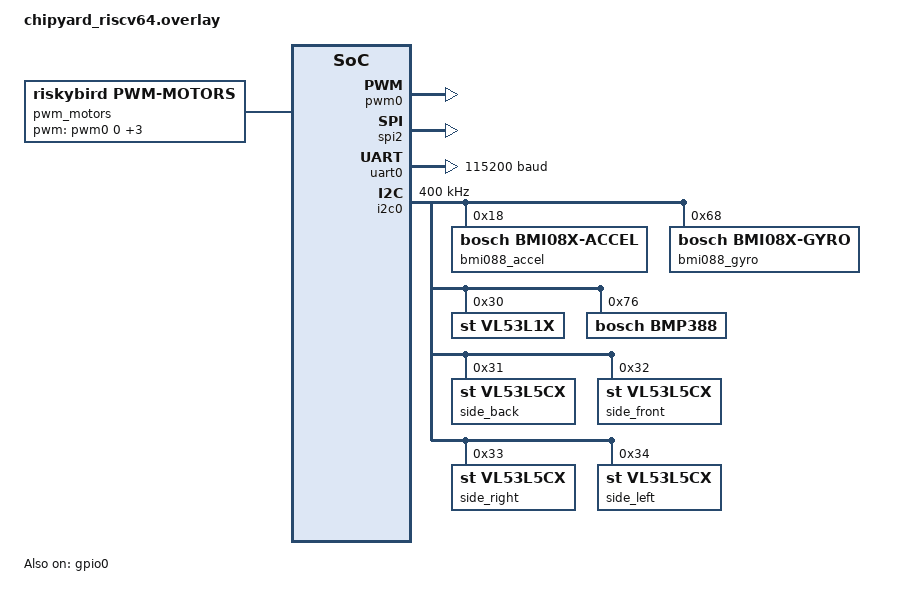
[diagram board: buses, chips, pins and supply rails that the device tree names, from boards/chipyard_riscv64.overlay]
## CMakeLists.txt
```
# SPDX-License-Identifier: Apache-2.0
#
# Integrated flight-controller + DroNet build for the riskybird v3 FPGA Rocket
# COMBINED core RocketArty200TDroneGemminiSaturnFp16At35Config.
#
# Combines, in ONE Zephyr binary flashed to ONE hart:
#   * the full flight controller (samples/rose_flight_controller) -- PID control
#     loop in main() at high (prio 0) priority, sensors, estimator, camera/ToF
#     background threads; and
#   * DroNet inference (the 13.31 fps integrated Gemmini+Saturn build,
#     modelblaster riskybird-fps-integrated @ 10b50ba: NHWC + conv0-pool fusion +
#     rvv_seg relayouts, grayscale, bit-exact) driven by src/dronet_thread.c on a
#     LOW-priority (prio 13) background thread.
#
# Build (see scripts/build_fc_dronet.sh for the canonical invocation):
#   west build -p -b chipyard_riscv64 samples/rose_fc_dronet -- \
#     -DMB_REPO=<abs path to a modelblaster checkout @10b50ba/equivalent> \
#     -DMODEL_DIR=<MB_REPO>/examples/dronet/int8/generated_gray/hetero_tiled_rvvadd \
#     -DMODELBLASTER_KERNEL_CFLAGS="-march=rv64imac_zve64x;-mabi=lp64;..." \
#     -DEXTRA_CPPFLAGS="-DROSE_MOTORS_INHIBIT=1 -DROSE_PROFILE=1"

cmake_minimum_required(VERSION 3.20.0)

# ---------------------------------------------------------------------------
# Locations (FC must be known before find_package so its dts/bindings -- e.g.
# riskybird,pwm-motors.yaml -- are on the binding search path via DTS_ROOT).
# ---------------------------------------------------------------------------
get_filename_component(FC ${CMAKE_CURRENT_SOURCE_DIR}/../rose_flight_controller ABSOLUTE)
get_filename_component(TINYMPC ${CMAKE_CURRENT_SOURCE_DIR}/../drone_control/tinympc ABSOLUTE)
list(APPEND DTS_ROOT ${FC})

find_package(Zephyr REQUIRED HINTS $ENV{ZEPHYR_BASE})
project(rose_fc_dronet)

# DroNet model + modelblaster runtime. MB_REPO/MODEL_DIR default to this
# worktree's own modelblaster submodule but are meant to be passed in by
# build_fc_dronet.sh so the exact 10b50ba integrated files are used.
if(NOT DEFINED MB_REPO)
  set(MB_REPO ${CMAKE_CURRENT_SOURCE_DIR}/../../modelblaster)
endif()
get_filename_component(MB_REPO "${MB_REPO}" ABSOLUTE)
if(NOT DEFINED MODEL_DIR)
  set(MODEL_DIR ${MB_REPO}/examples/dronet/int8/generated_gray/hetero_tiled_rvvadd)
endif()
get_filename_component(MODEL_DIR "${MODEL_DIR}" ABSOLUTE)

foreach(_f model.c kernels.c weights.c buffers.c model.h kernels.h test_io.h test_io.S)
  if(NOT EXISTS "${MODEL_DIR}/${_f}")
    message(FATAL_ERROR "MODEL_DIR='${MODEL_DIR}' missing ${_f}. "
                        "Run scripts/gen_dronet_model.sh or pass -DMODEL_DIR=.")
  endif()
endforeach()
message(STATUS "rose_fc_dronet: FC=${FC}")
message(STATUS "rose_fc_dronet: MODEL_DIR=${MODEL_DIR}")

# ---------------------------------------------------------------------------
# TinyMPC matlib: force SCALAR (the At35 core enables V for the DroNet kernels,
# but V codegen must stay confined to kernels.c -- see CONFIG_RISCV_V_KERNEL_ONLY.
# This build uses the lighter PID controller anyway, so TinyMPC is scalar like
# the original FullDDR bring-up.)
# ---------------------------------------------------------------------------
set(USE_CPU     ON  CACHE BOOL "" FORCE)
set(USE_RVV     OFF CACHE BOOL "" FORCE)
set(USE_HANDOPT OFF CACHE BOOL "" FORCE)
set(USE_TYPE "float32" CACHE STRING "" FORCE)
include(${TINYMPC}/external/matlib/matlib_header.cmake)

# ---------------------------------------------------------------------------
# FC build knobs (defaults chosen for the At35 bench build). ROSE_USE_PID=1 is
# the light hierarchical PID; motors inhibited / profiling on come via
# -DEXTRA_CPPFLAGS. Camera off in Phase 1 (turned on for Phase 2).
# ---------------------------------------------------------------------------
set(ROSE_USE_EKF 1 CACHE STRING "1=EKF, 0=complementary")
set(ROSE_USE_PID 1 CACHE STRING "1=hierarchical PID, 0=TinyMPC")
set(ROSE_THREADED 0 CACHE STRING "1=threaded blocks, 0=single loop")
set(ROSE_CTRL_DIV 1 CACHE STRING "control every Nth estimator tick")
set(ROSE_ACTUATE_TIMEOUT_MS 0 CACHE STRING "stop actuation N ms after boot (0=never)")
set(CTRL_ITERS 0 CACHE STRING "control-loop iteration count (0=forever)")
set(ROSE_BUMPER 0 CACHE STRING "1=side-ToF wall bumper")
set(ROSE_BUMPER_READDRESS_ONLY 0 CACHE STRING "1=re-address sides only")
set(ROSE_FLOW 0 CACHE STRING "1=PMW3901 optical flow")
set(ROSE_BARO 1 CACHE STRING "1=BMP388 baro altitude fusion")
# fp16(Zvfh)+fp32-vector estimator+PID (runs the FC algebra on the Saturn vector unit to
# free the scalar core for co-resident DroNet). Selected in the estimator/controller
# factories; takes precedence over ROSE_USE_EKF/ROSE_USE_PID. The fp16 kernels are split
# into a pure-VECTOR unit (fp16_fc_kernels.c, built with a Zvfh -march below) and a
# soft-float SCALAR-glue unit (fp16_fc_glue.c, built with the default rv64imac soft-float
# march) so no scalar-FP instruction is emitted (the At35 core is misa.F=0 -> scalar F traps).
set(ROSE_USE_FP16 0 CACHE STRING "1=fp16(Zvfh)+fp32-vector estimator+PID, 0=scalar")
# FcRoCC (custom-0) estimator+PID: runs the whole FC on the hardened RoCC accelerator
# in Q24.24 integer (no FPU, no Saturn V). Selected in the factories; takes precedence
# over FP16/EKF/PID. Only the float<->Q24.24 boundary is scalar soft-float. REQUIRES the
# validated-core RoCC bitstream (assembled ROM+boot image) to actually compute.
set(ROSE_USE_ROCC 0 CACHE STRING "1=FcRoCC(Q24.24) estimator+PID on the custom-0 accelerator, 0=off")

# ---------------------------------------------------------------------------
# Sources: the full FC + the DroNet model/kernels/runtime + the DroNet thread.
# ---------------------------------------------------------------------------
target_sources(app PRIVATE
  # ---- flight controller (from samples/rose_flight_controller) ----
  ${FC}/src/main.cpp
  ${FC}/src/estimator_complementary.cpp
  ${FC}/src/estimator_ekf.cpp
  ${FC}/src/estimator_factory.cpp
  ${FC}/src/controller_tinympc.cpp
  ${FC}/src/controller_pid.cpp
  ${FC}/src/controller_factory.cpp
  ${FC}/src/flightlog.c
  ${FC}/src/telem_uart.c
  ${FC}/src/camera_dma.c
  ${FC}/src/side_tof.c
  ${FC}/src/flow.c
  ${FC}/src/pmw3901.c
  ${TINYMPC}/external/admm/src/admm_rvv.cpp
  # ---- DroNet inference (generated) + the background thread ----
  src/dronet_thread.c
  ${MODEL_DIR}/model.c
  ${MODEL_DIR}/kernels.c
  ${MODEL_DIR}/weights.c
  ${MODEL_DIR}/buffers.c
  ${MODEL_DIR}/test_io.S
)
set_source_files_properties(${MODEL_DIR}/test_io.S PROPERTIES LANGUAGE ASM)

# DroNet weights push .sdata past the gp-relative window; disable relaxation
# (same treatment the modelblaster harness uses).
zephyr_link_libraries(-Wl,--no-relax)

# The generated DroNet kernels.c is the ONLY V (Saturn RVV) translation unit:
# give it the Gemmini+RVV march + include/-D set. Everything else builds no-V.
if(NOT DEFINED MODELBLASTER_KERNEL_CFLAGS OR "${MODELBLASTER_KERNEL_CFLAGS}" STREQUAL "")
  set(MODELBLASTER_KERNEL_CFLAGS
    "-march=rv64imac_zve64x;-mabi=lp64;\
-isystem${MB_REPO}/cores/gemmini/include/per_config/default16x16;\
-isystem${MB_REPO}/cores/gemmini/include;\
-isystem${MB_REPO}/cores/gemmini;\
-DGEMMINI_ROCC;-DBAREMETAL;\
-DMODELBLASTER_GEMMINI_HWIO_WEIGHTS=1;-DMODELBLASTER_GEMMINI_Q31_ACC_SCALE=1")
endif()
set_source_files_properties(${MODEL_DIR}/kernels.c PROPERTIES
  COMPILE_OPTIONS "${MODELBLASTER_KERNEL_CFLAGS}")
message(STATUS "rose_fc_dronet kernels.c cflags=${MODELBLASTER_KERNEL_CFLAGS}")

# ---------------------------------------------------------------------------
# fp16(Zvfh) FC kernels (-DROSE_USE_FP16=1). Compile-unit split for misa.F=0:
#   * fp16_fc_kernels.c -> the pure-VECTOR unit: built with the DroNet kernel march
#     + zvfh (rv64imac_zve64x_zvfh). It contains ZERO scalar float (objdump-verified:
#     0 scalar-FP, 127 vector-FP ops), so no scalar fadd.s/flw is emitted -> no trap.
#     The Saturn vector unit (vfh=true) executes the vfh vector ops on misa.V. Using
#     the zve64x base (no scalar 'f') matches kernels.c and avoids a hard-float ELF
#     attribute at link. Also #includes the internal fp16_fc_vec.h (no CMake entry).
#   * fp16_fc_glue.c   -> the SCALAR-glue unit: left on the default global
#     rv64imac(_zicsr_zifencei) soft-float march, so its scalar float becomes
#     soft-float libcalls (no scalar-FP instruction). No per-file override needed.
# ---------------------------------------------------------------------------
if(ROSE_USE_FP16)
  target_sources(app PRIVATE
    ${FC}/src/fp16_fc_kernels.c
    ${FC}/src/fp16_fc_glue.c)
  # -fno-tree-vectorize is REQUIRED on the fp16 vector TU: without it gcc auto-
  # vectorizes the scalar boundary/int<->fp16 converts into vfncvt.f.f.w / vfwcvt.f.f.v,
  # which are BLOCKED (illegal-instr) on the fp16-only At35 Saturn. a1198297's int-accum
  # kernel is hand-vectorized with only the At35-supported ops; this flag stops gcc from
  # re-introducing the blocked ones (objdump-verified 0 blocked ops).
  set(FP16_VEC_CFLAGS "-march=rv64imac_zve64x_zvfh;-mabi=lp64;-fno-tree-vectorize")
  set_source_files_properties(${FC}/src/fp16_fc_kernels.c PROPERTIES
    COMPILE_OPTIONS "${FP16_VEC_CFLAGS}")
  message(STATUS "rose_fc_dronet fp16_fc_kernels.c (Zvfh) cflags=${FP16_VEC_CFLAGS}")
endif()

# ---------------------------------------------------------------------------
# FcRoCC FC firmware (-DROSE_USE_ROCC=1): the custom-0 driver + boot image.
# Compiles on the default global rv64imac soft-float march -- the custom-0 ops are
# .insn r 0x0B (no ISA extension needed); the Q24.24 boundary is soft-float. The
# estimator_rocc.hpp/controller_rocc.hpp drop-ins are headers (no CMake entry).
# ---------------------------------------------------------------------------
if(ROSE_USE_ROCC)
  target_sources(app PRIVATE ${FC}/src/fc_rocc_fw.c)
  message(STATUS "rose_fc_dronet: FcRoCC FC firmware (ROSE_USE_ROCC=1)")
endif()

target_compile_definitions(app PRIVATE
  ROSE_USE_EKF=${ROSE_USE_EKF}
  ROSE_USE_PID=${ROSE_USE_PID}
  ROSE_USE_FP16=${ROSE_USE_FP16}
  ROSE_USE_ROCC=${ROSE_USE_ROCC}
  ROSE_THREADED=${ROSE_THREADED} ROSE_CTRL_DIV=${ROSE_CTRL_DIV}
  ROSE_ACTUATE_TIMEOUT_MS=${ROSE_ACTUATE_TIMEOUT_MS} CTRL_ITERS=${CTRL_ITERS}
  ROSE_BUMPER=${ROSE_BUMPER} ROSE_FLOW=${ROSE_FLOW} ROSE_BARO=${ROSE_BARO}
  ROSE_BUMPER_READDRESS_ONLY=${ROSE_BUMPER_READDRESS_ONLY})

target_include_directories(app PRIVATE
  ${FC}/src
  ${MODEL_DIR}
  ${TINYMPC}/external/admm/include
  ${TINYMPC}/external/matlib/include
  ${TINYMPC}/include
  ${TINYMPC}/examples)

# Both parents used ROSE_CAMERA for different capture implementations.
# Keep still-photo ROSE_CAMERA; select upstream DMA with ROSE_CAMERA_DMA.
# Empty values preserve existing EXTRA_CPPFLAGS overrides.
set(ROSE_CAMERA_DMA "" CACHE STRING "1=upstream background camera DMA")
set(ROSE_UART_TELEM "" CACHE STRING "1=upstream raw uart1 telemetry/snapshots")
foreach(_mode ROSE_CAMERA_DMA ROSE_UART_TELEM)
  if(NOT "${${_mode}}" STREQUAL "")
    target_compile_definitions(app PRIVATE ${_mode}=${${_mode}})
  endif()
endforeach()
```

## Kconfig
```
# Application Kconfig for the integrated FC + DroNet harness.
# Declares the project-local RISCV_V_KERNEL_ONLY symbol (same as
# modelblaster/harness/Kconfig) then sources the standard Zephyr Kconfig.

config RISCV_V_KERNEL_ONLY
	bool "Restrict V codegen to kernel files only"
	depends on RISCV_ISA_EXT_V
	default n
	help
	  Restrict RISC-V Vector codegen to the generated DroNet kernels.c TU
	  (which carries a per-source -march=rv64imac_zve64x override). Every
	  other translation unit -- the flight controller, Zephyr, libc -- is
	  built for a no-V march so GCC cannot auto-vectorize scalar code and a
	  mid-vector preemption can never clobber scalar state. The DroNet thread
	  is the only V user; the eager vector context switch
	  (CONFIG_RISCV_ISA_EXT_V_LAZY=n) saves/restores its vector state when the
	  PID loop preempts it.

source "Kconfig.zephyr"
```

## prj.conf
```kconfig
# Shared (board-agnostic) config for the integrated FC + DroNet build.
# Sensor drivers, the soft-float / vector / clock settings, and the peripheral
# bindings are board-specific and live in boards/chipyard_riscv64.{conf,overlay}.

CONFIG_SENSOR=y
CONFIG_PRINTK=y

# C++ + a large main stack (the FC control loop runs in main(); the TinyMPC
# working set historically lived here -- kept generous even though this build
# uses the lighter PID controller).
CONFIG_CPP=y
CONFIG_REQUIRES_FULL_LIBCPP=n
CONFIG_MAIN_STACK_SIZE=327680

CONFIG_BOOT_BANNER=n

# Catch a thread stack overflow (prints instead of silently corrupting) and name
# threads so the concurrent PID/DroNet/tof/camera threads are legible in traces.
CONFIG_STACK_SENTINEL=y
CONFIG_THREAD_NAME=y

# Preemptive scheduling (the high-priority PID loop in main, prio 0, preempts the
# low-priority DroNet thread, prio 13, on schedule) is on by default via the
# preemptible priority band -- CONFIG_PREEMPT_ENABLED is auto-derived, not set here.
```

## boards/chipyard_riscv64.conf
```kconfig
# Integrated FC + DroNet on the riskybird v3 FPGA Rocket COMBINED core
# RocketArty200TDroneGemminiSaturnFp16At35Config @ 35 MHz.
#
# This core = the FullDDR-Dma-Uart drone periphery (BMI088/ToF/baro on i2c,
# PMW3901 flow on spi, motors on pwm, gpio, uart0 console + uart1 telem, OSPI
# camera + DMA) PLUS Gemmini + Saturn V128D64 + an FP16-only scalar FPU.
# Source of truth: fpga/.../arty200t/AccelConfigs.scala (:107-115, :225-228).
#
# misa = 0x8000000000b41105 = RV64 IMAC + V (+S/U/X); NO hardware fp32/fp64
# (the scalar FPU is fp16-only, WithRocketFPU16). So the whole app is built
# SOFT-FLOAT and the DroNet vector kernels are the only V code (kernels.c).

# ---- Console UART @ 35 MHz peripheral clock -> 115200 baud on /dev/ttyUSB1 ----
CONFIG_UART_HTIF=n
CONFIG_UART_SIFIVE=y
CONFIG_UART_SIFIVE_PORT_0=y
CONFIG_SYS_CLOCK_HW_CYCLES_PER_SEC=35000

# ---- No hardware fp32/fp64 on this bitstream -> soft float --------------------
# The FC (estimator/PID/Mahony) uses scalar fp32; on misa.F=0 that lowers to
# soft-float libcalls (functionally identical, just slower than the RV64GC
# FullDDR shell the FC was first brought up on). The int8 DroNet path uses no
# scalar float. CONFIG_FPU=n avoids the boot fscsr write that would trap on
# misa.F=0 (no need for CONFIG_RISCV_SKIP_BOOT_FCSR, which is the FPU=y path).
CONFIG_FPU=n
CONFIG_FPU_SHARING=n
CONFIG_CBPRINTF_FP_SUPPORT=y

# ---- Saturn RISC-V Vector: EAGER context switch (preemption safety) ----------
# DroNet issues V instructions (Saturn RVV) only inside kernels.c. Enabling V at
# the arch level turns on vector register save/restore across context switches;
# LAZY=n makes it eager so a mid-vector kernel preempted by the PID loop has its
# full vector state (and vstart) preserved. V_KERNEL_ONLY keeps V codegen out of
# every non-kernel TU (FC/Zephyr/libc build with a no-V march) so scalar code
# can never be caught mid-vector. Matches modelblaster/harness/backends/
# gemmini_q31_rvv.conf, the proven DroNet-only config for this bitstream.
CONFIG_RISCV_ISA_EXT_V=y
CONFIG_RISCV_ISA_EXT_V_LAZY=n
CONFIG_RISCV_V_KERNEL_ONLY=y
# Save-area size per vreg = MAX_LEN/8. The At35 Saturn is WithRocketVectorUnit(128,64)
# => VLEN=128, so 256 was already safe (>=128, no eager-save overflow); set 512 to
# match the proven rose_fused_mpc/rvv_zfh.conf and leave zero doubt.
CONFIG_RISCV_VECTOR_MAX_LEN=512
# NOTE: rose_fused_mpc's rvv_zfh.conf also sets CONFIG_RISCV_ISA_EXT_ZFH/ZVFH=y.
# NOT enabled here: this integrated DroNet is INT8 (kernels built -march=rv64imac_zve64x,
# no vector-fp16), so Zfh/Zvfh are not needed for its correctness, and enabling scalar
# Zfh on this misa.F=0 core (WithRocketFPU16, Zfh-without-F) would pull in the FPU boot
# path (fscsr) that needs CONFIG_RISCV_SKIP_BOOT_FCSR. Add all three together only if a
# future fp16-vector DroNet variant needs them.

# ---- Buses + real sensor drivers (bound by boards/chipyard_riscv64.overlay) --
CONFIG_I2C=y
CONFIG_SPI=y
CONFIG_GPIO=y
CONFIG_PWM=y
CONFIG_BMI08X=y
CONFIG_VL53L1X=y
CONFIG_VL53L1X_INTERRUPT_MODE=n
CONFIG_VL53L5CX=y
CONFIG_VL53L5CX_DEFAULT_RESOLUTION_8X8=y
CONFIG_VL53L5CX_DATA_READY_TIMEOUT_MS=200
CONFIG_BMP388=y
```

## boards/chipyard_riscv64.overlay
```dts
/*
 * Integrated FC + DroNet on the riskybird v3 FPGA Rocket COMBINED core
 * RocketArty200TDroneGemminiSaturnFp16At35Config.
 *
 * The At35 core carries the SAME drone periphery (and PLIC source numbering) as
 * RocketArty200TDroneFullDDRDmaUartConfig -- guaranteed by AccelConfigs.scala
 * (:41 "same PLIC source numbering, same pins"). So the sensor/peripheral binding
 * below is identical to samples/rose_flight_controller's FullDDR overlay; only
 * the peripheral clock (50 -> 35 MHz) and plic ndev (20 -> 16, the At35
 * generated-DTS value, max source = OSPI-DMA at line 16) differ.
 *
 * Addresses + PLIC IRQs (from the FullDDR/At35 shared numbering):
 *   i2c=1, pwm0=2-5, uart0=10, uart1=11, gpio=12-14, spi=15, ospi-dma=16.
 */
#include <zephyr/dt-bindings/gpio/gpio.h>

/ {
	chosen {
		zephyr,console = &uart0;
		zephyr,shell-uart = &uart0;
		zephyr,sram = &ram0;
	};

	aliases {
		bmi088-accel = &bmi088_accel;
		bmi088-gyro  = &bmi088_gyro;
		tof   = &vl53l1x;
		baro  = &bmp388;
		motors = &pwm_motors;
		side-back  = &side_back;
		side-front = &side_front;
		side-right = &side_right;
		side-left  = &side_left;
	};

	gpio0: gpio@10010000 {
		compatible = "sifive,gpio0";
		reg = <0x10010000 0x1000>;
		interrupt-parent = <&plic>;
		interrupts = <12 1>, <13 1>, <14 1>;
		gpio-controller;
		#gpio-cells = <2>;
		status = "okay";
	};

	pwm0: pwm@10050000 {
		compatible = "sifive,pwm0";
		reg = <0x10050000 0x1000>;
		interrupt-parent = <&plic>;
		interrupts = <2 1>, <3 1>, <4 1>, <5 1>;
		sifive,compare-width = <16>;
		#pwm-cells = <2>;
		status = "okay";
	};

	/* PMW3901 optical-flow SPI. flow.c uses DT_NODELABEL(spi2) + gpio0 (SW CS). */
	spi2: spi@10031000 {
		compatible = "sifive,spi0";
		reg = <0x10031000 0x1000>;
		reg-names = "control";
		interrupt-parent = <&plic>;
		interrupts = <15 1>;
		#address-cells = <1>;
		#size-cells = <0>;
		status = "okay";
	};

	/* 4 brushed-motor PWM outputs. INHIBITED in this build (ROSE_MOTORS_INHIBIT=1). */
	pwm_motors: pwm_motors {
		compatible = "riskybird,pwm-motors";
		pwms = <&pwm0 0 50000>, <&pwm0 1 50000>, <&pwm0 2 50000>, <&pwm0 3 50000>;
	};
};

&{/cpus/cpu@0} { clock-frequency = <35000000>; };
&{/cpus/cpu@1} { status = "disabled"; };
&{/cpus/cpu@2} { status = "disabled"; };
&{/cpus/cpu@3} { status = "disabled"; };
&{/cpus/cpu@4} { status = "disabled"; };
&{/cpus/cpu@5} { status = "disabled"; };
&{/cpus/cpu@6} { status = "disabled"; };
&{/cpus/cpu@7} { status = "disabled"; };

&plic { riscv,max-priority = <7>; riscv,ndev = <16>; };

&ram0 { reg = <0x80000000 0x40000000>; status = "okay"; };

&uart0 { status = "okay"; current-speed = <115200>; interrupts = <10 1>; };

&htif  { status = "disabled"; };
&flash0 { status = "disabled"; };
&spad0 { status = "disabled"; };

&i2c0 {
	status = "okay";
	clock-frequency = <400000>;   /* fast-mode: shortens the BMI088 IMU read (loop bottleneck) */
	interrupts = <1 1>;
	#address-cells = <1>;
	#size-cells = <0>;

	bmi088_accel: accelerometer@18 {
		compatible = "bosch,bmi08x-accel";
		reg = <0x18>;
		accel-hz = "800";
		accel-fs = <6>;
		status = "okay";
	};
	bmi088_gyro: gyroscope@68 {
		compatible = "bosch,bmi08x-gyro";
		reg = <0x68>;
		gyro-hz = "1000_116";
		gyro-fs = <1000>;
		status = "okay";
	};

	/* down-ToF: powers up at 0x29; main.cpp readdresses it to 0x30 at boot. */
	vl53l1x: vl53l1x@30 {
		compatible = "st,vl53l1x";
		reg = <0x30>;
		status = "okay";
	};

	bmp388: bmp388@76 {
		compatible = "bosch,bmp388";
		reg = <0x76>;
		odr = "50";
		osr-press = <8>;
		osr-temp = <1>;
		iir-filter = <3>;
		status = "okay";
	};

	/* 4 side VL53L5CX (bumper). Default 0x29; side_tof.c readdresses to 0x31-0x34. */
	side_back:  vl53l5cx@31 { compatible = "st,vl53l5cx"; reg = <0x31>; };
	side_front: vl53l5cx@32 { compatible = "st,vl53l5cx"; reg = <0x32>; };
	side_right: vl53l5cx@33 { compatible = "st,vl53l5cx"; reg = <0x33>; };
	side_left:  vl53l5cx@34 { compatible = "st,vl53l5cx"; reg = <0x34>; };
};
```

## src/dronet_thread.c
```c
/*
 * DroNet background inference thread for the integrated FC + DroNet build on the
 * riskybird v3 FPGA Rocket combined core RocketArty200TDroneGemminiSaturnFp16At35Config
 * (Gemmini + Saturn VLEN=128 + full drone periphery, misa.F=0 / Zfh-without-F).
 *
 * WHAT THIS IS
 *   The flight controller runs its PID control loop in main() at Zephyr prio 0.
 *   This thread (prio DRONET_PRIO, below the loop) runs DroNet inference over a
 *   static 112x112x1 grayscale tensor as fast as the shared hart allows, in the
 *   slack the control loop leaves. It self-verifies bit-exactness vs the baked
 *   golden (max_abs_err <= 3) and reports concurrent fps. Modeled on the proven
 *   rose_fused_mpc / rose_fused_nav low-prio vision-thread + ZOH pattern.
 *
 * PREEMPTION SAFETY -- MEASURED on the At35 (2026-09-05):
 *   (1) FENCE JITTER: DroNet's Gemmini conv (tiled_conv_auto) drains its write
 *       DMA with a hart-stalling `fence` that holds off the timer ISR for the
 *       whole array drain -> concurrent PID loop stretched to 16-24 ms. FIX
 *       (owned by the load-once poll conv, a28efeb): per-tile WDMA_BYTES_SENT
 *       poll + yield so the conv is preemptible. conv2d_s8 dispatches are left
 *       UNMASKED here so that poll conv can run and the PID loop preempts it.
 *   (2) OUTPUT CORRUPTION under full preemption (max_abs_err 10-245, saturated).
 *       Isolation (this file supports it): rose_fused_mpc's PURE-RVV vision net
 *       preempts cleanly under the same eager V save/restore, so the corruption
 *       is NOT fundamental RVV preemption -- it is the Gemmini<->RVV interaction
 *       (a context switch, whose eager V save runs vse8.v, taken while a Gemmini
 *       mvout DMA is in flight). Zephyr's v.c saves/restores all of
 *       v0..v31 + vstart/vl/vtype/vcsr, VLEN=128 <= MAX_LEN so the save area
 *       does not overflow, and switch.S runs no V op after restore -- so it is
 *       not a save/restore gap or a MAX_LEN drift.
 *
 * TOOLS FOR THE ISOLATION / FIX (all compile-time):
 *   - Atomic baseline: the first inference runs fully IRQ-locked (no preemption)
 *     -> its max_abs_err is the control case (must be <=3) and it populates the
 *     per-op IR-kind records used to classify ops below.
 *   - DRONET_MASK_OPS: comma-separated substrings of IR op kinds to run with
 *     IRQs masked (never preempted mid-op). Tune to the MINIMAL set that makes
 *     max_abs_err<=3 under preemption while keeping each masked op < the PID
 *     budget. If the Gemmini<->RVV race is confirmed, this is empty and the poll
 *     conv (drain-then-yield, per-tile masked) carries the Gemmini safety; if
 *     any short RVV op also corrupts, add it here (bn/add/relu/relayout are the
 *     us-scale candidates -- masking them adds only us of PID jitter).
 *   - DRONET_IRQ_GATE=1: coarse fallback -- mask EVERY op (correct but breaks
 *     >=200 Hz because the long conv is then non-preemptible; correctness proof
 *     only).
 */

#include <zephyr/kernel.h>
#include <string.h>
#include "model.h"
#include "test_io.h"   /* model_dronet_test_input[], model_dronet_test_golden[] */

#ifndef DRONET_PRIO
#define DRONET_PRIO 7          /* below PID loop (0), above tof(8)/camera(12) */
#endif
#ifndef DRONET_STACK_SIZE
#define DRONET_STACK_SIZE (256 * 1024)
#endif
#ifndef DRONET_START_DELAY_MS
#define DRONET_START_DELAY_MS 4000
#endif
#ifndef DRONET_REPORT_EVERY
#define DRONET_REPORT_EVERY 1
#endif
#ifndef DRONET_IRQ_GATE
#define DRONET_IRQ_GATE 0
#endif
#ifndef DRONET_YIELD_DIV
#define DRONET_YIELD_DIV 1   /* time-slice knob: k_yield every N ops (see dronet_run_once) */
#endif
/* Bit-exact-under-preemption set (measured on the At35). The poll+yield conv
 * (dronet_model_poll/kernels.c) handles the Gemmini convs; these SHORT RVV ops
 * are IRQ-masked whole (each << the >=200 Hz budget) because the Saturn
 * mis-resumes their mid-execution strided vector memory ops at vstart!=0.
 *
 * maxpool2d_s8: FLIGHT DEFAULT is the fault-free WHOLE-OP mask (in the list
 * below) -- zero preemption window, guaranteed no Saturn strided mis-resume.
 * COST: the maxpool runs ~25 ms IRQ-off, so the control loop sees ONE ~25 ms
 * gap per DroNet frame (bench: FC+DroNet mean 166 Hz, worst-case jitter 43 ms).
 * The maxpool2d_s8 kernel ALSO self-protects PER CHANNEL (irq_lock a ~0.8 ms
 * channel around the strided vlse8, k_yield between channels); to trade the
 * safety margin for a tighter loop, build with a DRONET_MASK_OPS that OMITS
 * "maxpool" -- the per-channel self-protect then keeps the loop running
 * (bench: mean 168 Hz, worst-case jitter 18 ms, still err=3/no-fault across the
 * runs measured, but leaves a small per-channel preemption window). */
#ifndef DRONET_MASK_OPS
#define DRONET_MASK_OPS "batchnorm", "add_s8", "relu", "linear", "sigmoid", "maxpool"
#endif

static model_dronet_output_t dronet_out[MODEL_DRONET_OUTPUT_SIZE];
static uint8_t op_masked[MODEL_DRONET_OP_COUNT];

static int op_should_mask(const char *op)
{
	if (op == NULL) return 0;
	static const char *masks[] = { DRONET_MASK_OPS };
	for (size_t i = 0; i < sizeof(masks) / sizeof(masks[0]); i++) {
		if (masks[i] && strstr(op, masks[i]) != NULL) return 1;
	}
	return 0;
}

static int dronet_verify(void)
{
	int max_abs_err = 0;
	for (int i = 0; i < MODEL_DRONET_TEST_OUTPUT_LEN; i++) {
		int d = (int)dronet_out[i] - (int)model_dronet_test_golden[i];
		if (d < 0) d = -d;
		if (d > max_abs_err) max_abs_err = d;
	}
	return max_abs_err;
}

/* One inference. steady=0: whole inference IRQ-locked (atomic control case +
 * populates op-kind records). steady=1: per-op masking from op_masked[], with a
 * k_yield at each op boundary so the PID loop preempts. Returns summed per-op
 * compute cycles; *wall_ticks gets the mtime delta (includes PID-steal time). */
static unsigned long dronet_run_once(int steady, unsigned long *wall_ticks)
{
	model_dronet_state_t s = {
		.input = model_dronet_test_input, .output = dronet_out, .pool = NULL,
	};
	model_dronet_reset_profile();
	unsigned long t0 = (unsigned long)k_cycle_get_64();

	if (!steady) {
		unsigned int key = irq_lock();
		for (int i = 0; i < MODEL_DRONET_OP_COUNT; i++)
			MODEL_DRONET_DISPATCH_FNS[i](&s);
		irq_unlock(key);
	} else {
		for (int i = 0; i < MODEL_DRONET_OP_COUNT; i++) {
#if DRONET_IRQ_GATE
			unsigned int key = irq_lock();
			MODEL_DRONET_DISPATCH_FNS[i](&s);
			irq_unlock(key);
#else
			if (op_masked[i]) {
				unsigned int key = irq_lock();
				MODEL_DRONET_DISPATCH_FNS[i](&s);
				irq_unlock(key);
			} else {
				MODEL_DRONET_DISPATCH_FNS[i](&s);
			}
			/* Time-slice knob (loop-rate <-> DroNet-fps tradeoff): yield to the PID
			 * loop every DRONET_YIELD_DIV ops. 1 = yield every op (max loop rate,
			 * lowest DroNet fps -- the ops are tiny so the loop preempts often); larger
			 * = DroNet runs more ops between yields (higher fps, lower loop rate);
			 * DRONET_IRQ_GATE=1 = never yield = atomic (max fps, lowest loop rate). */
			if ((i % DRONET_YIELD_DIV) == (DRONET_YIELD_DIV - 1)) k_yield();
#endif
		}
	}

	__asm__ volatile("fence rw, rw" ::: "memory");
	*wall_ticks = (unsigned long)k_cycle_get_64() - t0;

	int n = 0;
	const model_dronet_op_record_t *rec = model_dronet_profile_records(&n);
	unsigned long compute = 0;
	for (int i = 0; i < n; i++) compute += rec[i].cycles;
	return compute;
}

static void dronet_thread_fn(void *a, void *b, void *c)
{
	ARG_UNUSED(a); ARG_UNUSED(b); ARG_UNUSED(c);
	const uint32_t hz = CONFIG_SYS_CLOCK_HW_CYCLES_PER_SEC;

	printk("DRONET: thread up (prio %d, gate=%d) model=%s in=%d out=%d ops=%d\n",
	       DRONET_PRIO, DRONET_IRQ_GATE, MODEL_DRONET_NAME,
	       MODEL_DRONET_INPUT_SIZE, MODEL_DRONET_OUTPUT_SIZE, MODEL_DRONET_OP_COUNT);

	/* Atomic baseline + op classification (one-time). */
	unsigned long wt = 0;
	unsigned long compute0 = dronet_run_once(0, &wt);
	int base_err = dronet_verify();
	int n = 0;
	const model_dronet_op_record_t *rec = model_dronet_profile_records(&n);
	int nmask = 0;
	for (int i = 0; i < n && i < MODEL_DRONET_OP_COUNT; i++) {
		op_masked[i] = (uint8_t)op_should_mask(rec[i].op);
		if (op_masked[i]) nmask++;
	}
	printk("DRONET: baseline(atomic) compute=%lu kcyc err=%d out=[%d,%d]; masking %d/%d ops\n",
	       compute0 / 1000UL, base_err, (int)dronet_out[0], (int)dronet_out[1], nmask, n);

	unsigned long cnt = 0;
	for (;;) {
		unsigned long wall_ticks = 0;
		unsigned long compute = dronet_run_once(1, &wall_ticks);
		cnt++;
		if ((cnt % DRONET_REPORT_EVERY) == 0) {
			int err = dronet_verify();
			unsigned long wall_us = (hz != 0)
				? (unsigned long)(((uint64_t)wall_ticks * 1000000ULL) / hz) : 0;
			unsigned long mfps = (wall_us != 0)
				? (unsigned long)(1000000000ULL / wall_us) : 0; /* fps*1000 */
			printk("DRONET: n=%lu compute=%lu kcyc wall=%lu.%03lu ms fps=%lu.%03lu err=%d out=[%d,%d]\n",
			       cnt, compute / 1000UL, wall_us / 1000UL, wall_us % 1000UL,
			       mfps / 1000UL, mfps % 1000UL, err, (int)dronet_out[0], (int)dronet_out[1]);
		}
	}
}

K_THREAD_DEFINE(dronet_tid, DRONET_STACK_SIZE, dronet_thread_fn,
		NULL, NULL, NULL, DRONET_PRIO, 0, DRONET_START_DELAY_MS);
```
